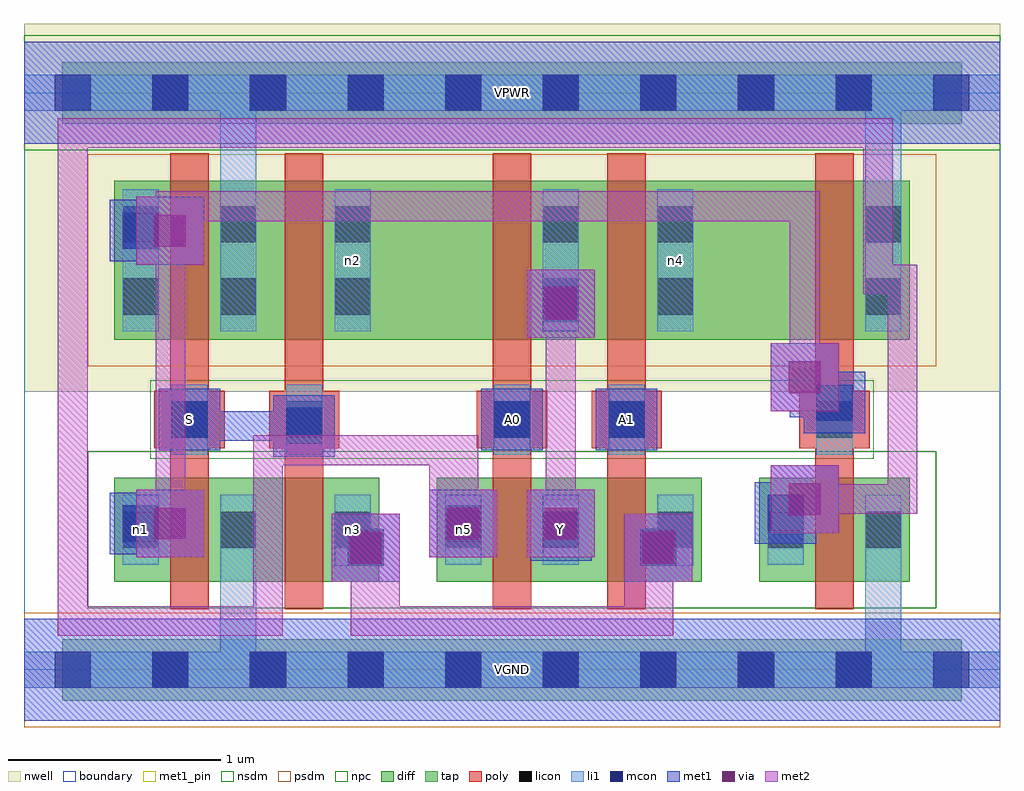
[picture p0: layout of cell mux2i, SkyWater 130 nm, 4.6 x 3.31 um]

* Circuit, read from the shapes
.subckt mux2i A0 A1 S VGND VPWR Y n1 n2 n3 n4 n5
XM1 VGND S n1 VGND sky130_fd_pr__nfet_01v8 w=0.49 l=0.18
XM2 n3 S VGND VGND sky130_fd_pr__nfet_01v8 w=0.49 l=0.18
XM3 Y A0 n5 VGND sky130_fd_pr__nfet_01v8 w=0.49 l=0.18
XM4 n3 A1 Y VGND sky130_fd_pr__nfet_01v8 w=0.49 l=0.18
XM5 VGND n1 n5 VGND sky130_fd_pr__nfet_01v8 w=0.49 l=0.18
XM6 VPWR S n1 VPWR sky130_fd_pr__pfet_01v8 w=0.75 l=0.18
XM7 n2 S VPWR VPWR sky130_fd_pr__pfet_01v8 w=0.75 l=0.18
XM8 Y A0 n2 VPWR sky130_fd_pr__pfet_01v8 w=0.75 l=0.18
XM9 n4 A1 Y VPWR sky130_fd_pr__pfet_01v8 w=0.75 l=0.18
XM10 VPWR n1 n4 VPWR sky130_fd_pr__pfet_01v8 w=0.75 l=0.18
.ends

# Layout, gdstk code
import gdstk
lib = gdstk.Library(unit=1e-6, precision=1e-09)
def R(c, l, rs):  # rectangles x0, y0, x1, y1
    for r in rs: c.add(gdstk.rectangle(r[:2], r[2:], *l))
def A(c, l, x, y, w, h, nx, ny, dx, dy):  # array of equal rectangles
    R(c, l, [(x+i*dx, y+j*dy, x+i*dx+w, y+j*dy+h) for i in range(nx) for j in range(ny)])
nwell = (64, 20)
diff = (65, 20)
tap = (65, 44)
poly = (66, 20)
licon = (66, 44)
li1 = (67, 20)
mcon = (67, 44)
met1_pin = (68, 16)
met1 = (68, 20)
via = (68, 44)
met2 = (69, 20)
nsdm = (93, 44)
psdm = (94, 20)
npc = (95, 20)
boundary = (235, 4)

mux2i = lib.new_cell('mux2i')
R(mux2i, nwell, [(0,1.31,4.6,3.045)])
R(mux2i, diff, [(0.425,0.415,1.675,0.905), (1.945,0.415,3.195,0.905), (3.465,0.415,4.175,0.905), (0.425,1.555,4.175,2.305)])
R(mux2i, tap, [(0.18,-0.145,4.42,0.145), (0.18,2.575,4.42,2.865)])
R(mux2i, poly, [(0.69,0.285,0.87,2.435), (1.23,0.285,1.41,2.435), (2.21,0.285,2.39,2.435), (2.75,0.285,2.93,2.435), (3.73,0.285,3.91,2.435), (0.615,1.045,0.945,1.315), (1.155,1.045,1.485,1.315), (2.135,1.045,2.465,1.315), (2.675,1.045,3.005,1.315), (3.655,1.045,3.985,1.315)])
A(mux2i, licon, 0.605, -0.085, 0.17, 0.17, 8, 2, 0.46, 2.72)
R(mux2i, licon, [(0.465,0.575,0.635,0.745), (0.925,0.575,1.095,0.745), (1.465,0.575,1.635,0.745), (1.985,0.575,2.155,0.745), (2.445,0.575,2.615,0.745), (2.985,0.575,3.155,0.745), (3.505,0.575,3.675,0.745), (3.965,0.575,4.135,0.745), (0.695,1.095,0.865,1.265), (1.235,1.095,1.405,1.265), (2.215,1.095,2.385,1.265), (2.755,1.095,2.925,1.265), (3.735,1.095,3.905,1.265), (0.465,1.675,0.635,1.845), (0.925,1.675,1.095,1.845), (1.465,1.675,1.635,1.845), (2.445,1.675,2.615,1.845), (2.985,1.675,3.155,1.845), (3.965,1.675,4.135,1.845), (0.465,2.015,0.635,2.185), (0.925,2.015,1.095,2.185), (1.465,2.015,1.635,2.185), (2.445,2.015,2.615,2.185), (2.985,2.015,3.155,2.185), (3.965,2.015,4.135,2.185)])
R(mux2i, li1, [(0,-0.085,4.6,0.085), (0.925,-0.085,1.095,0.825), (3.965,-0.085,4.135,0.825), (1.465,0.49,1.695,0.665), (2.905,0.49,3.155,0.665), (0.465,0.495,0.635,0.825), (0.925,0.495,1.095,0.825), (1.465,0.495,1.635,0.825), (1.985,0.495,2.155,0.825), (2.445,0.495,2.615,0.825), (2.985,0.495,3.155,0.825), (3.505,0.495,3.675,0.825), (3.965,0.495,4.135,0.825), (0.695,1.015,0.865,1.345), (1.235,1.015,1.405,1.345), (2.215,1.015,2.385,1.345), (2.755,1.015,2.925,1.345), (3.735,1.015,3.905,1.345), (0.465,1.595,0.635,2.265), (0.925,1.595,1.095,2.265), (0.925,1.595,1.095,2.805), (1.465,1.595,1.635,2.265), (2.445,1.595,2.615,2.265), (2.985,1.595,3.155,2.265), (3.965,1.595,4.135,2.265), (3.965,1.595,4.135,2.805), (0,2.635,4.6,2.805)])
A(mux2i, mcon, 0.145, -0.085, 0.17, 0.17, 10, 2, 0.46, 2.72)
R(mux2i, mcon, [(1.525,0.49,1.695,0.66), (2.905,0.49,3.075,0.66), (2.445,0.575,2.615,0.745), (0.465,0.605,0.635,0.775), (1.985,0.605,2.155,0.775), (3.505,0.655,3.675,0.825), (1.235,1.065,1.405,1.235), (0.695,1.095,0.865,1.265), (2.215,1.095,2.385,1.265), (2.755,1.095,2.925,1.265), (3.735,1.175,3.905,1.345), (2.445,1.64,2.615,1.81), (0.465,1.985,0.635,2.155)])
R(mux2i, met1_pin, [(0,-0.24,4.6,0.24), (2.385,0.515,2.675,0.805), (0.635,1.035,0.925,1.325), (2.155,1.035,2.445,1.325), (2.695,1.035,2.985,1.325), (0,2.48,4.6,2.96)])
R(mux2i, met1, [(0,-0.24,4.6,0.24), (1.45,0.415,1.77,0.735), (2.83,0.415,3.15,0.735), (1.465,0.43,1.755,0.72), (2.845,0.43,3.135,0.72), (2.385,0.515,2.675,0.805), (0.53,0.53,0.85,0.85), (1.91,0.53,2.23,0.85), (2.37,0.53,2.69,0.85), (0.405,0.545,0.695,0.835), (1.925,0.545,2.215,0.835), (3.445,0.595,3.735,0.885), (0.48,0.62,0.76,0.76), (2.46,0.62,2.6,0.76), (3.52,0.645,3.84,0.965), (3.52,0.67,3.75,0.81), (3.61,0.67,3.75,0.875), (1.175,1.005,1.465,1.295), (0.635,1.035,0.925,1.325), (2.155,1.035,2.445,1.325), (2.695,1.035,2.985,1.325), (0.735,1.08,0.875,1.22), (0.735,1.08,1.22,1.22), (1.08,1.08,1.39,1.22), (3.675,1.115,3.965,1.405), (3.61,1.19,3.89,1.33), (3.61,1.19,3.75,1.45), (3.52,1.22,3.84,1.54), (2.37,1.565,2.69,1.885), (2.385,1.58,2.675,1.87), (0.53,1.91,0.85,2.23), (0.405,1.925,0.695,2.215), (0.48,2,0.76,2.14), (0,2.48,4.6,2.96)])
R(mux2i, via, [(1.535,0.5,1.685,0.65), (2.915,0.5,3.065,0.65), (0.615,0.615,0.765,0.765), (1.995,0.615,2.145,0.765), (2.455,0.615,2.605,0.765), (3.605,0.73,3.755,0.88), (3.605,1.305,3.755,1.455), (2.455,1.65,2.605,1.8), (0.615,1.995,0.765,2.145)])
R(mux2i, met2, [(0.16,0.16,1.22,0.3), (0.16,0.16,0.3,2.6), (1.08,0.16,1.22,1.105), (1.54,0.16,1.68,0.645), (1.54,0.16,3.06,0.3), (2.92,0.16,3.06,0.645), (1.54,0.3,1.77,0.415), (2.83,0.3,3.06,0.415), (1.45,0.415,1.77,0.735), (2.83,0.415,3.15,0.735), (0.53,0.53,0.85,0.85), (1.91,0.53,2.23,0.85), (2.37,0.53,2.69,0.85), (0.62,0.62,0.76,2.14), (2,0.62,2.14,1.105), (2.46,0.62,2.6,1.795), (3.52,0.645,3.84,0.965), (3.61,0.735,4.21,0.875), (4.07,0.735,4.21,1.91), (1.91,0.85,2.14,0.965), (1.08,0.965,2.14,1.105), (3.52,1.22,3.84,1.54), (3.61,1.31,3.75,2.255), (2.37,1.565,2.69,1.885), (3.955,1.77,4.095,2.6), (3.955,1.77,4.21,1.91), (0.53,1.91,0.85,2.23), (0.62,2,0.76,2.255), (0.62,2.115,3.75,2.255), (0.16,2.46,4.095,2.6)])
R(mux2i, nsdm, [(0.3,0.29,4.3,1.03), (0,2.45,4.6,2.99)])
R(mux2i, psdm, [(0,-0.27,4.6,0.27), (0.3,1.43,4.3,2.43)])
R(mux2i, npc, [(0.595,0.995,4.005,1.365)])
R(mux2i, boundary, [(0,0,4.6,2.72)])
mux2i.add(gdstk.Label('n1', (0.55,0.66), layer=67, texttype=5))
mux2i.add(gdstk.Label('n3', (1.55,0.66), layer=67, texttype=5))
mux2i.add(gdstk.Label('n5', (2.07,0.66), layer=67, texttype=5))
mux2i.add(gdstk.Label('n2', (1.55,1.93), layer=67, texttype=5))
mux2i.add(gdstk.Label('n4', (3.07,1.93), layer=67, texttype=5))
mux2i.add(gdstk.Label('S', (0.78,1.18), layer=68, texttype=5))
mux2i.add(gdstk.Label('A0', (2.3,1.18), layer=68, texttype=5))
mux2i.add(gdstk.Label('A1', (2.84,1.18), layer=68, texttype=5))
mux2i.add(gdstk.Label('Y', (2.53,0.66), layer=68, texttype=5))
mux2i.add(gdstk.Label('VPWR', (2.3,2.72), layer=68, texttype=5))
mux2i.add(gdstk.Label('VGND', (2.3,0), layer=68, texttype=5))
mux2i.add(gdstk.Label('S', (0.78,1.18), layer=68, texttype=16))
mux2i.add(gdstk.Label('A0', (2.3,1.18), layer=68, texttype=16))
mux2i.add(gdstk.Label('A1', (2.84,1.18), layer=68, texttype=16))
mux2i.add(gdstk.Label('Y', (2.53,0.66), layer=68, texttype=16))
mux2i.add(gdstk.Label('VPWR', (2.3,2.72), layer=68, texttype=16))
mux2i.add(gdstk.Label('VGND', (2.3,0), layer=68, texttype=16))

lib.write_gds('mux2i.gds')
